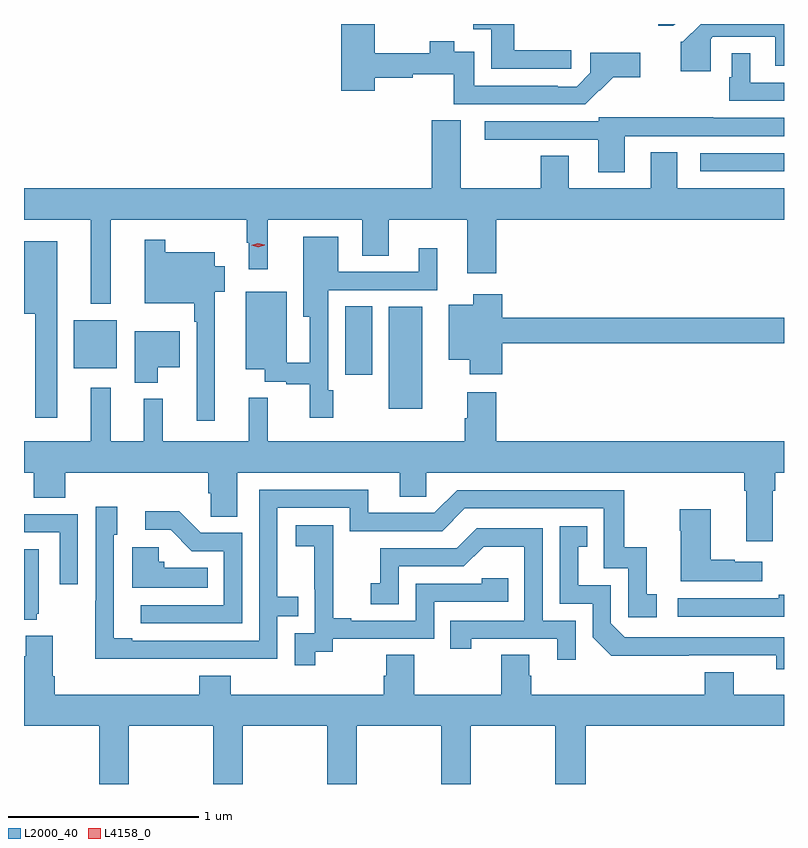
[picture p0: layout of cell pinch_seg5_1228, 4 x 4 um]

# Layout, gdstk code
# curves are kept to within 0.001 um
import gdstk
lib = gdstk.Library(unit=1e-6, precision=1e-09)
def R(c, l, rs):  # rectangles x0, y0, x1, y1
    for r in rs: c.add(gdstk.rectangle(r[:2], r[2:], *l))
def P(c, l, *ps):  # polygons
    for p in ps: c.add(gdstk.Polygon(p, *l))
L2000_40 = (2000, 40)
L4158_0 = (4158, 0)

pinch_seg5_1228 = lib.new_cell('pinch_seg5_1228')
R(pinch_seg5_1228, L2000_40, [(374.708,897.056,374.884,897.592), (374.477,897.234,374.62,897.596), (373.049,897.269,373.276,897.523), (376.347,898.305,376.787,898.401)])
P(pinch_seg5_1228, L2000_40, [(375.815,898.732),(375.817,898.731),(375.888,898.802),(376.03,898.802),(376.03,898.93),(375.768,898.93),(375.768,898.824),(375.696,898.752),(375.596,898.752),(375.596,898.755),(375.156,898.755),(375.156,898.936),(375.052,898.936),(375.052,898.99),(374.923,898.99),(374.923,898.927),(374.634,898.927),(374.634,899.081),(374.456,899.081),(374.456,898.731),(374.634,898.731),(374.634,898.798),(374.834,898.798),(374.834,898.816),(375.048,898.816),(375.048,898.659),(375.742,898.659)],
  [(376.214,899.081),(376.124,899.081),(376.124,899.072),(376.205,899.072)],
  [(375.667,898.942),(375.367,898.942),(375.367,899.081),(375.152,899.081),(375.152,899.054),(375.245,899.054),(375.245,898.845),(375.667,898.845)],
  [(376.402,899.002),(376.413,899.013),(376.742,899.013),(376.742,898.862),(376.787,898.862),(376.787,899.081),(376.348,899.081),(376.254,898.987),(376.244,898.987),(376.244,898.832),(376.402,898.832)],
  [(376.787,898.773),(376.609,898.773),(376.609,898.928),(376.512,898.928),(376.512,898.8),(376.5,898.8),(376.5,898.677),(376.787,898.677)],
  [(375.949,898.491),(376.787,898.491),(376.787,898.587),(376.415,898.587),(376.415,898.59),(376.213,898.59),(376.213,898.589),(375.813,898.589),(375.813,898.569),(375.213,898.569),(375.213,898.473),(375.809,898.473),(375.809,898.302),(375.949,898.302)],
  [(373.243,898.052),(373.959,898.052),(373.959,897.929),(373.971,897.929),(373.971,897.789),(374.069,897.789),(374.069,898.052),(374.567,898.052),(374.567,897.862),(374.707,897.862),(374.707,898.052),(375.119,898.052),(375.119,897.768),(375.272,897.768),(375.272,898.052),(376.787,898.052),(376.787,898.216),(376.225,898.216),(376.225,898.406),(376.085,898.406),(376.085,898.216),(375.655,898.216),(375.655,898.388),(375.508,898.388),(375.508,898.216),(375.085,898.216),(375.085,898.574),(374.933,898.574),(374.933,898.216),(372.787,898.216),(372.787,898.052),(373.139,898.052),(373.139,897.608),(373.243,897.608)],
  [(374.415,897.153),(374.388,897.153),(374.388,897.681),(374.962,897.681),(374.962,897.901),(374.864,897.901),(374.864,897.777),(374.44,897.777),(374.44,897.961),(374.258,897.961),(374.258,897.539),(374.292,897.539),(374.292,897.297),(374.17,897.297),(374.17,897.673),(373.955,897.673),(373.955,897.263),(374.054,897.263),(374.054,897.198),(374.166,897.198),(374.166,897.186),(374.29,897.186),(374.29,897.009),(374.415,897.009)],
  [(373.792,897.671),(373.843,897.671),(373.843,897.805),(373.792,897.805),(373.792,897.88),(373.531,897.88),(373.531,897.946),(373.422,897.946),(373.422,897.611),(373.683,897.611),(373.683,897.515),(373.695,897.515),(373.695,896.994),(373.792,896.994)],
  [(372.961,897.937),(372.787,897.937),(372.787,897.557),(372.847,897.557),(372.847,897.009),(372.961,897.009)],
  [(375.305,897.4),(376.787,897.4),(376.787,897.536),(375.305,897.536),(375.305,897.658),(375.152,897.658),(375.152,897.604),(375.023,897.604),(375.023,897.314),(375.134,897.314),(375.134,897.237),(375.305,897.237)],
  [(373.492,897.275),(373.606,897.275),(373.606,897.463),(373.37,897.463),(373.37,897.194),(373.492,897.194)],
  [(376.729,896.624),(376.742,896.624),(376.742,896.72),(376.787,896.72),(376.787,896.884),(375.272,896.884),(375.272,897.142),(375.119,897.142),(375.119,897.005),(375.107,897.005),(375.107,896.884),(374.07,896.884),(374.07,897.113),(373.97,897.113),(373.97,896.884),(373.517,896.884),(373.517,897.109),(373.418,897.109),(373.418,896.884),(373.243,896.884),(373.243,897.166),(373.139,897.166),(373.139,896.884),(372.787,896.884),(372.787,896.72),(372.839,896.72),(372.839,896.587),(373.004,896.587),(373.004,896.72),(373.757,896.72),(373.757,896.611),(373.77,896.611),(373.77,896.488),(373.909,896.488),(373.909,896.72),(374.765,896.72),(374.765,896.593),(374.904,896.593),(374.904,896.72),(376.577,896.72),(376.577,896.624),(376.589,896.624),(376.589,896.358),(376.729,896.358)],
  [(373.625,895.74),(374.121,895.74),(374.121,895.965),(374.231,895.965),(374.231,896.066),(374.121,896.066),(374.121,896.535),(374.502,896.535),(374.502,896.412),(374.988,896.412),(375.108,896.532),(375.837,896.532),(375.837,896.217),(375.966,896.217),(375.966,895.959),(376.117,895.959),(376.117,896.079),(376.064,896.079),(376.064,896.326),(375.946,896.326),(375.946,896.628),(375.066,896.628),(374.946,896.508),(374.599,896.508),(374.599,896.631),(374.025,896.631),(374.025,895.836),(373.357,895.836),(373.357,895.849),(373.26,895.849),(373.26,896.394),(373.279,896.394),(373.279,896.539),(373.164,896.539),(373.164,896.045),(373.162,896.045),(373.162,895.739)],
  [(376.672,896.251),(376.529,896.251),(376.529,896.261),(376.402,896.261),(376.402,896.527),(376.237,896.527),(376.237,896.414),(376.244,896.414),(376.244,896.147),(376.672,896.147)],
  [(373.935,896.403),(373.716,896.403),(373.603,896.516),(373.425,896.516),(373.425,896.418),(373.559,896.418),(373.67,896.307),(373.839,896.307),(373.839,896.022),(373.401,896.022),(373.401,895.926),(373.935,895.926)],
  [(373.071,896.502),(372.787,896.502),(372.787,896.406),(372.975,896.406),(372.975,896.133),(373.071,896.133)],
  [(374.32,895.777),(374.412,895.777),(374.412,895.845),(374.946,895.845),(374.946,896.04),(375.335,896.04),(375.335,896.163),(375.195,896.163),(375.195,896.136),(374.85,896.136),(374.85,895.941),(374.509,895.941),(374.509,895.954),(374.414,895.954),(374.414,896.237),(374.415,896.237),(374.415,896.443),(374.217,896.443),(374.217,896.333),(374.315,896.333),(374.315,896.105),(374.316,896.105),(374.316,895.875),(374.211,895.875),(374.211,895.707),(374.32,895.707)],
  [(376.787,895.854),(375.948,895.854),(375.876,895.926),(375.876,896.127),(375.703,896.127),(375.703,896.331),(375.752,896.331),(375.752,896.437),(375.606,896.437),(375.606,896.031),(375.78,896.031),(375.78,895.854),(375.878,895.757),(376.746,895.758),(376.746,895.685),(376.787,895.685)],
  [(375.69,895.941),(375.516,895.941),(375.516,896.427),(375.17,896.427),(375.065,896.322),(374.662,896.322),(374.662,896.137),(374.613,896.137),(374.613,896.028),(374.76,896.028),(374.76,896.226),(375.102,896.226),(375.206,896.33),(375.42,896.33),(375.42,895.941),(375.031,895.941),(375.031,895.794),(375.142,895.794),(375.142,895.845),(375.593,895.845),(375.593,895.734),(375.69,895.734)],
  [(373.754,896.218),(373.524,896.218),(373.524,896.25),(373.497,896.25),(373.497,896.326),(373.358,896.326),(373.358,896.114),(373.754,896.114)],
  [(372.854,895.977),(372.865,895.977),(372.865,896.317),(372.787,896.317),(372.787,895.946),(372.854,895.946)],
  [(376.787,896.078),(376.759,896.078),(376.759,896.058),(376.227,896.058),(376.227,895.962),(376.787,895.962)],
  [(374.538,895.388),(374.983,895.388),(374.983,895.081),(375.138,895.081),(375.138,895.388),(375.583,895.388),(375.583,895.081),(375.743,895.081),(375.743,895.388),(376.787,895.388),(376.787,895.552),(376.522,895.552),(376.522,895.669),(376.37,895.669),(376.37,895.552),(375.458,895.552),(375.458,895.65),(375.445,895.65),(375.445,895.76),(375.298,895.76),(375.298,895.552),(374.841,895.552),(374.841,895.76),(374.693,895.76),(374.693,895.65),(374.681,895.65),(374.681,895.552),(373.874,895.552),(373.874,895.651),(373.709,895.651),(373.709,895.552),(372.95,895.552),(372.95,895.648),(372.937,895.648),(372.937,895.861),(372.797,895.861),(372.797,895.754),(372.787,895.754),(372.787,895.388),(373.183,895.388),(373.183,895.081),(373.338,895.081),(373.338,895.388),(373.783,895.388),(373.783,895.081),(373.938,895.081),(373.938,895.388),(374.383,895.388),(374.383,895.081),(374.538,895.081)])
P(pinch_seg5_1228, L4158_0, [(374.019,897.907),(373.983,897.916),(373.983,897.916),(373.983,897.916),(374.018,897.927),(374.054,897.918),(374.054,897.918),(374.054,897.917)])

lib.write_gds('pinch_seg5_1228.gds')
